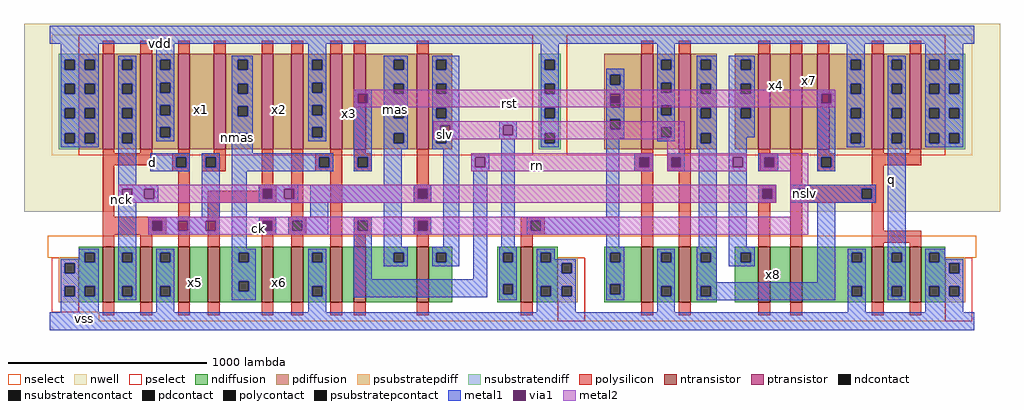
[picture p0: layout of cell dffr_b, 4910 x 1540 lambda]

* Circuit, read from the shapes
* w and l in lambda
.subckt dffr_b q d ck rn vdd vss
M1 nck ck vss vss nfet w=280 l=60 m=2
M2 x5 d vss vss nfet w=280 l=60
M3 nmas nck x5 vss nfet w=280 l=60
M4 x6 ck nmas vss nfet w=280 l=60
M5 vss mas x6 vss nfet w=280 l=60
M6 n1 nmas vss vss nfet w=280 l=60
M7 mas rn n1 vss nfet w=280 l=60
M8 slv ck mas vss nfet w=280 l=60
M9 vss rst slv vss nfet w=280 l=60
M10 vss rn rst vss nfet w=280 l=60
M11 nslv slv vss vss nfet w=280 l=60
M12 x8 nck slv vss nfet w=280 l=60
M13 vss nslv x8 vss nfet w=280 l=60
M14 q nslv vss vss nfet w=280 l=60 m=2
M15 nck ck vdd vdd pfet w=480 l=60 m=2
M16 x1 d vdd vdd pfet w=480 l=60
M17 nmas ck x1 vdd pfet w=480 l=60
M18 x2 nck nmas vdd pfet w=480 l=60
M19 vdd mas x2 vdd pfet w=480 l=60
M20 x3 nmas vdd vdd pfet w=480 l=60
M21 mas rst x3 vdd pfet w=480 l=60
M22 slv nck mas vdd pfet w=480 l=60
M23 vdd rn rst vdd pfet w=480 l=60
M24 nslv slv vdd vdd pfet w=480 l=60
M25 x4 ck slv vdd pfet w=480 l=60
M26 x7 nslv x4 vdd pfet w=480 l=60
M27 vdd rst x7 vdd pfet w=480 l=60
M28 q nslv vdd vdd pfet w=480 l=60 m=2
.ends

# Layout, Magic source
magic
tech amic5n
<< nwell >>
rect -130 550 4780 1495
<< ntransistor >>
rect 265 95 325 375
rect 455 95 515 375
rect 645 95 705 375
rect 795 95 855 375
rect 1065 95 1125 375
rect 1215 95 1275 375
rect 1410 95 1470 375
rect 1530 95 1590 375
rect 1845 95 1905 375
rect 2370 95 2430 375
rect 2975 95 3035 375
rect 3165 95 3225 375
rect 3565 95 3625 375
rect 3725 95 3785 375
rect 4135 95 4195 375
rect 4325 95 4385 375
<< ptransistor >>
rect 265 865 325 1345
rect 455 865 515 1345
rect 645 865 705 1345
rect 825 865 885 1345
rect 1065 865 1125 1345
rect 1215 865 1275 1345
rect 1410 865 1470 1345
rect 1530 865 1590 1345
rect 1845 865 1905 1345
rect 2975 865 3035 1345
rect 3165 865 3225 1345
rect 3565 865 3625 1345
rect 3725 865 3785 1345
rect 3860 865 3920 1345
rect 4135 865 4195 1345
rect 4325 865 4385 1345
<< nselect >>
rect 10 835 145 1440
rect 2430 835 2600 1440
rect 4505 835 4640 1440
rect -10 320 4660 430
rect 145 45 2555 320
rect 245 0 2555 45
rect 2690 0 4505 320
<< pselect >>
rect 145 835 2430 1440
rect 2600 835 4505 1440
rect 10 45 145 320
rect 2555 0 2690 320
rect 4505 0 4640 320
<< ndiffusion >>
rect 145 345 265 375
rect 145 295 175 345
rect 225 295 265 345
rect 145 175 265 295
rect 145 125 175 175
rect 225 125 265 175
rect 145 95 265 125
rect 325 345 455 375
rect 325 295 365 345
rect 415 295 455 345
rect 325 175 455 295
rect 325 125 365 175
rect 415 125 455 175
rect 325 95 455 125
rect 515 345 645 375
rect 515 295 555 345
rect 605 295 645 345
rect 515 175 645 295
rect 515 125 555 175
rect 605 125 645 175
rect 515 95 645 125
rect 705 95 795 375
rect 855 345 1065 375
rect 855 295 950 345
rect 1000 295 1065 345
rect 855 200 1065 295
rect 855 150 950 200
rect 1000 150 1065 200
rect 855 95 1065 150
rect 1125 95 1215 375
rect 1275 345 1410 375
rect 1275 295 1320 345
rect 1370 295 1410 345
rect 1275 175 1410 295
rect 1275 125 1320 175
rect 1370 125 1410 175
rect 1275 95 1410 125
rect 1470 95 1530 375
rect 1590 345 1845 375
rect 1590 295 1730 345
rect 1780 295 1845 345
rect 1590 95 1845 295
rect 1905 345 2025 375
rect 1905 295 1945 345
rect 1995 295 2025 345
rect 1905 95 2025 295
rect 2250 345 2370 375
rect 2250 295 2280 345
rect 2330 295 2370 345
rect 2250 185 2370 295
rect 2250 135 2280 185
rect 2330 135 2370 185
rect 2250 95 2370 135
rect 2430 345 2555 375
rect 2430 295 2470 345
rect 2520 295 2555 345
rect 2790 345 2975 375
rect 2430 175 2555 295
rect 2430 125 2470 175
rect 2520 125 2555 175
rect 2430 95 2555 125
rect 2790 295 2820 345
rect 2870 295 2975 345
rect 2790 185 2975 295
rect 2790 135 2820 185
rect 2870 135 2975 185
rect 2790 95 2975 135
rect 3035 345 3165 375
rect 3035 295 3075 345
rect 3125 295 3165 345
rect 3035 175 3165 295
rect 3035 125 3075 175
rect 3125 125 3165 175
rect 3035 95 3165 125
rect 3225 345 3355 375
rect 3225 295 3275 345
rect 3325 295 3355 345
rect 3225 175 3355 295
rect 3225 125 3275 175
rect 3325 125 3355 175
rect 3225 95 3355 125
rect 3445 345 3565 375
rect 3445 295 3475 345
rect 3525 295 3565 345
rect 3445 95 3565 295
rect 3625 95 3725 375
rect 3785 345 4135 375
rect 3785 295 4035 345
rect 4085 295 4135 345
rect 3785 175 4135 295
rect 3785 125 4035 175
rect 4085 125 4135 175
rect 3785 95 4135 125
rect 4195 345 4325 375
rect 4195 295 4235 345
rect 4285 295 4325 345
rect 4195 175 4325 295
rect 4195 125 4235 175
rect 4285 125 4325 175
rect 4195 95 4325 125
rect 4385 345 4505 375
rect 4385 295 4425 345
rect 4475 295 4505 345
rect 4385 175 4505 295
rect 4385 125 4425 175
rect 4475 125 4505 175
rect 4385 95 4505 125
<< pdiffusion >>
rect 145 1315 265 1345
rect 145 1265 175 1315
rect 225 1265 265 1315
rect 145 1195 265 1265
rect 145 1145 175 1195
rect 225 1145 265 1195
rect 145 1070 265 1145
rect 145 1020 175 1070
rect 225 1020 265 1070
rect 145 945 265 1020
rect 145 895 175 945
rect 225 895 265 945
rect 145 865 265 895
rect 325 1315 455 1345
rect 325 1265 365 1315
rect 415 1265 455 1315
rect 325 1195 455 1265
rect 325 1145 365 1195
rect 415 1145 455 1195
rect 325 1070 455 1145
rect 325 1020 365 1070
rect 415 1020 455 1070
rect 325 945 455 1020
rect 325 895 365 945
rect 415 895 455 945
rect 325 865 455 895
rect 515 1315 645 1345
rect 515 1265 555 1315
rect 605 1265 645 1315
rect 515 1200 645 1265
rect 515 1150 555 1200
rect 605 1150 645 1200
rect 515 1085 645 1150
rect 515 1035 555 1085
rect 605 1035 645 1085
rect 515 975 645 1035
rect 515 925 555 975
rect 605 925 645 975
rect 515 865 645 925
rect 705 865 825 1345
rect 885 1315 1065 1345
rect 885 1265 945 1315
rect 995 1265 1065 1315
rect 885 1195 1065 1265
rect 885 1145 945 1195
rect 995 1145 1065 1195
rect 885 1080 1065 1145
rect 885 1030 945 1080
rect 995 1030 1065 1080
rect 885 945 1065 1030
rect 885 895 945 945
rect 995 895 1065 945
rect 885 865 1065 895
rect 1125 865 1215 1345
rect 1275 1315 1410 1345
rect 1275 1265 1320 1315
rect 1370 1265 1410 1315
rect 1275 1200 1410 1265
rect 1275 1150 1320 1200
rect 1370 1150 1410 1200
rect 1275 1085 1410 1150
rect 1275 1035 1320 1085
rect 1370 1035 1410 1085
rect 1275 975 1410 1035
rect 1275 925 1320 975
rect 1370 925 1410 975
rect 1275 865 1410 925
rect 1470 865 1530 1345
rect 1590 1315 1845 1345
rect 1590 1265 1730 1315
rect 1780 1265 1845 1315
rect 1590 1195 1845 1265
rect 1590 1145 1730 1195
rect 1780 1145 1845 1195
rect 1590 1070 1845 1145
rect 1590 1020 1730 1070
rect 1780 1020 1845 1070
rect 1590 945 1845 1020
rect 1590 895 1730 945
rect 1780 895 1845 945
rect 1590 865 1845 895
rect 1905 1315 2025 1345
rect 1905 1265 1945 1315
rect 1995 1265 2025 1315
rect 1905 1195 2025 1265
rect 1905 1145 1945 1195
rect 1995 1145 2025 1195
rect 1905 1070 2025 1145
rect 1905 1020 1945 1070
rect 1995 1020 2025 1070
rect 1905 945 2025 1020
rect 1905 895 1945 945
rect 1995 895 2025 945
rect 1905 865 2025 895
rect 2790 1240 2975 1345
rect 2790 1190 2820 1240
rect 2870 1190 2975 1240
rect 2790 1125 2975 1190
rect 2790 1075 2820 1125
rect 2870 1075 2975 1125
rect 2790 1015 2975 1075
rect 2790 965 2820 1015
rect 2870 965 2975 1015
rect 2790 865 2975 965
rect 3035 1315 3165 1345
rect 3035 1265 3075 1315
rect 3125 1265 3165 1315
rect 3035 1200 3165 1265
rect 3035 1150 3075 1200
rect 3125 1150 3165 1200
rect 3035 1085 3165 1150
rect 3035 1035 3075 1085
rect 3125 1035 3165 1085
rect 3035 975 3165 1035
rect 3035 925 3075 975
rect 3125 925 3165 975
rect 3035 865 3165 925
rect 3225 1315 3355 1345
rect 3225 1265 3275 1315
rect 3325 1265 3355 1315
rect 3225 1195 3355 1265
rect 3225 1145 3275 1195
rect 3325 1145 3355 1195
rect 3225 1070 3355 1145
rect 3225 1020 3275 1070
rect 3325 1020 3355 1070
rect 3225 945 3355 1020
rect 3225 895 3275 945
rect 3325 895 3355 945
rect 3225 865 3355 895
rect 3445 1315 3565 1345
rect 3445 1265 3475 1315
rect 3525 1265 3565 1315
rect 3445 1195 3565 1265
rect 3445 1145 3475 1195
rect 3525 1145 3565 1195
rect 3445 1070 3565 1145
rect 3445 1020 3475 1070
rect 3525 1020 3565 1070
rect 3445 865 3565 1020
rect 3625 865 3725 1345
rect 3785 865 3860 1345
rect 3920 1315 4135 1345
rect 3920 1265 4030 1315
rect 4080 1265 4135 1315
rect 3920 1195 4135 1265
rect 3920 1145 4030 1195
rect 4080 1145 4135 1195
rect 3920 1070 4135 1145
rect 3920 1020 4030 1070
rect 4080 1020 4135 1070
rect 3920 945 4135 1020
rect 3920 895 4030 945
rect 4080 895 4135 945
rect 3920 865 4135 895
rect 4195 1315 4325 1345
rect 4195 1265 4235 1315
rect 4285 1265 4325 1315
rect 4195 1195 4325 1265
rect 4195 1145 4235 1195
rect 4285 1145 4325 1195
rect 4195 1070 4325 1145
rect 4195 1020 4235 1070
rect 4285 1020 4325 1070
rect 4195 945 4325 1020
rect 4195 895 4235 945
rect 4285 895 4325 945
rect 4195 865 4325 895
rect 4385 1315 4505 1345
rect 4385 1265 4425 1315
rect 4475 1265 4505 1315
rect 4385 1195 4505 1265
rect 4385 1145 4425 1195
rect 4475 1145 4505 1195
rect 4385 1070 4505 1145
rect 4385 1020 4425 1070
rect 4475 1020 4505 1070
rect 4385 945 4505 1020
rect 4385 895 4425 945
rect 4475 895 4505 945
rect 4385 865 4505 895
<< psubstratepdiff >>
rect 45 290 145 320
rect 45 240 75 290
rect 125 240 145 290
rect 45 175 145 240
rect 45 125 75 175
rect 125 125 145 175
rect 45 95 145 125
rect 2555 290 2655 320
rect 2555 240 2575 290
rect 2625 240 2655 290
rect 2555 175 2655 240
rect 2555 125 2575 175
rect 2625 125 2655 175
rect 2555 95 2655 125
rect 4505 290 4605 320
rect 4505 240 4525 290
rect 4575 240 4605 290
rect 4505 175 4605 240
rect 4505 125 4525 175
rect 4575 125 4605 175
rect 4505 95 4605 125
<< nsubstratendiff >>
rect 45 1315 145 1345
rect 45 1265 75 1315
rect 125 1265 145 1315
rect 45 1195 145 1265
rect 45 1145 75 1195
rect 125 1145 145 1195
rect 45 1070 145 1145
rect 45 1020 75 1070
rect 125 1020 145 1070
rect 45 945 145 1020
rect 45 895 75 945
rect 125 895 145 945
rect 45 865 145 895
rect 2460 1315 2570 1345
rect 2460 1265 2490 1315
rect 2540 1265 2570 1315
rect 2460 1195 2570 1265
rect 2460 1145 2490 1195
rect 2540 1145 2570 1195
rect 2460 1070 2570 1145
rect 2460 1020 2490 1070
rect 2540 1020 2570 1070
rect 2460 945 2570 1020
rect 2460 895 2490 945
rect 2540 895 2570 945
rect 2460 865 2570 895
rect 4505 1315 4605 1345
rect 4505 1265 4525 1315
rect 4575 1265 4605 1315
rect 4505 1195 4605 1265
rect 4505 1145 4525 1195
rect 4575 1145 4605 1195
rect 4505 1070 4605 1145
rect 4505 1020 4525 1070
rect 4575 1020 4605 1070
rect 4505 945 4605 1020
rect 4505 895 4525 945
rect 4575 895 4605 945
rect 4505 865 4605 895
<< nsubstratencontact >>
rect 75 1265 125 1315
rect 75 1145 125 1195
rect 75 1020 125 1070
rect 75 895 125 945
rect 2490 1265 2540 1315
rect 2490 1145 2540 1195
rect 2490 1020 2540 1070
rect 2490 895 2540 945
rect 4525 1265 4575 1315
rect 4525 1145 4575 1195
rect 4525 1020 4575 1070
rect 4525 895 4575 945
<< psubstratepcontact >>
rect 75 240 125 290
rect 75 125 125 175
rect 2575 240 2625 290
rect 2575 125 2625 175
rect 4525 240 4575 290
rect 4525 125 4575 175
<< ndcontact >>
rect 175 295 225 345
rect 175 125 225 175
rect 365 295 415 345
rect 365 125 415 175
rect 555 295 605 345
rect 555 125 605 175
rect 950 295 1000 345
rect 950 150 1000 200
rect 1320 295 1370 345
rect 1320 125 1370 175
rect 1730 295 1780 345
rect 1945 295 1995 345
rect 2280 295 2330 345
rect 2280 135 2330 185
rect 2470 295 2520 345
rect 2470 125 2520 175
rect 2820 295 2870 345
rect 2820 135 2870 185
rect 3075 295 3125 345
rect 3075 125 3125 175
rect 3275 295 3325 345
rect 3275 125 3325 175
rect 3475 295 3525 345
rect 4035 295 4085 345
rect 4035 125 4085 175
rect 4235 295 4285 345
rect 4235 125 4285 175
rect 4425 295 4475 345
rect 4425 125 4475 175
<< pdcontact >>
rect 175 1265 225 1315
rect 175 1145 225 1195
rect 175 1020 225 1070
rect 175 895 225 945
rect 365 1265 415 1315
rect 365 1145 415 1195
rect 365 1020 415 1070
rect 365 895 415 945
rect 555 1265 605 1315
rect 555 1150 605 1200
rect 555 1035 605 1085
rect 555 925 605 975
rect 945 1265 995 1315
rect 945 1145 995 1195
rect 945 1030 995 1080
rect 945 895 995 945
rect 1320 1265 1370 1315
rect 1320 1150 1370 1200
rect 1320 1035 1370 1085
rect 1320 925 1370 975
rect 1730 1265 1780 1315
rect 1730 1145 1780 1195
rect 1730 1020 1780 1070
rect 1730 895 1780 945
rect 1945 1265 1995 1315
rect 1945 1145 1995 1195
rect 1945 1020 1995 1070
rect 1945 895 1995 945
rect 2820 1190 2870 1240
rect 2820 1075 2870 1125
rect 2820 965 2870 1015
rect 3075 1265 3125 1315
rect 3075 1150 3125 1200
rect 3075 1035 3125 1085
rect 3075 925 3125 975
rect 3275 1265 3325 1315
rect 3275 1145 3325 1195
rect 3275 1020 3325 1070
rect 3275 895 3325 945
rect 3475 1265 3525 1315
rect 3475 1145 3525 1195
rect 3475 1020 3525 1070
rect 4030 1265 4080 1315
rect 4030 1145 4080 1195
rect 4030 1020 4080 1070
rect 4030 895 4080 945
rect 4235 1265 4285 1315
rect 4235 1145 4285 1195
rect 4235 1020 4285 1070
rect 4235 895 4285 945
rect 4425 1265 4475 1315
rect 4425 1145 4475 1195
rect 4425 1020 4475 1070
rect 4425 895 4475 945
<< polysilicon >>
rect 265 1345 325 1410
rect 455 1345 515 1410
rect 645 1345 705 1410
rect 825 1345 885 1410
rect 1065 1345 1125 1410
rect 1215 1345 1275 1410
rect 1410 1345 1470 1410
rect 1530 1345 1590 1410
rect 1845 1345 1905 1410
rect 2975 1345 3035 1410
rect 3165 1345 3225 1410
rect 3565 1345 3625 1410
rect 3725 1345 3785 1410
rect 3860 1345 3920 1410
rect 4135 1345 4195 1410
rect 4325 1345 4385 1410
rect 265 845 325 865
rect 455 845 515 865
rect 645 845 705 865
rect 825 845 885 865
rect 265 785 515 845
rect 615 825 705 845
rect 265 525 325 785
rect 615 775 635 825
rect 685 775 705 825
rect 615 755 705 775
rect 765 825 885 845
rect 765 775 785 825
rect 835 775 885 825
rect 765 755 885 775
rect 265 505 585 525
rect 265 455 515 505
rect 565 455 585 505
rect 265 435 585 455
rect 265 375 325 435
rect 455 375 515 435
rect 645 375 705 755
rect 1065 685 1125 865
rect 1050 665 1140 685
rect 1050 655 1070 665
rect 795 615 1070 655
rect 1120 615 1140 665
rect 795 595 1140 615
rect 795 375 855 595
rect 1215 525 1275 865
rect 1410 845 1470 865
rect 1335 825 1470 845
rect 1335 775 1355 825
rect 1405 775 1470 825
rect 1335 755 1470 775
rect 1530 845 1590 865
rect 1530 825 1620 845
rect 1530 775 1550 825
rect 1600 775 1620 825
rect 1530 755 1620 775
rect 1050 505 1140 525
rect 1050 455 1070 505
rect 1120 455 1140 505
rect 1050 435 1140 455
rect 1200 505 1290 525
rect 1200 455 1220 505
rect 1270 455 1290 505
rect 1200 435 1290 455
rect 1065 375 1125 435
rect 1215 375 1275 435
rect 1410 375 1470 755
rect 1845 685 1905 865
rect 2975 845 3035 865
rect 3165 845 3225 865
rect 2940 825 3035 845
rect 2940 775 2965 825
rect 3015 775 3035 825
rect 2940 755 3035 775
rect 3105 825 3225 845
rect 3105 775 3125 825
rect 3175 775 3225 825
rect 3105 755 3225 775
rect 3565 845 3625 865
rect 3565 825 3665 845
rect 3565 775 3595 825
rect 3645 775 3665 825
rect 3565 755 3665 775
rect 1830 665 1920 685
rect 1830 615 1850 665
rect 1900 615 1920 665
rect 1830 595 1920 615
rect 1530 505 1620 525
rect 1530 455 1550 505
rect 1600 455 1620 505
rect 1530 435 1620 455
rect 1830 505 1920 525
rect 1830 455 1850 505
rect 1900 455 1920 505
rect 1830 435 1920 455
rect 2370 505 2490 525
rect 2370 455 2420 505
rect 2470 455 2490 505
rect 2370 435 2490 455
rect 1530 375 1590 435
rect 1845 375 1905 435
rect 2370 375 2430 435
rect 2975 375 3035 755
rect 3165 375 3225 755
rect 3725 685 3785 865
rect 3860 845 3920 865
rect 4135 845 4195 865
rect 4325 845 4385 865
rect 3860 825 3950 845
rect 3860 775 3880 825
rect 3930 775 3950 825
rect 3860 755 3950 775
rect 4135 785 4385 845
rect 4135 685 4195 785
rect 3565 665 3655 685
rect 3565 615 3585 665
rect 3635 615 3655 665
rect 3565 595 3655 615
rect 3725 665 4195 685
rect 3725 615 3760 665
rect 3810 615 4085 665
rect 4135 615 4195 665
rect 3725 595 4195 615
rect 3565 375 3625 595
rect 3725 375 3785 595
rect 4135 455 4195 595
rect 4135 395 4385 455
rect 4135 375 4195 395
rect 4325 375 4385 395
rect 265 30 325 95
rect 455 30 515 95
rect 645 30 705 95
rect 795 30 855 95
rect 1065 30 1125 95
rect 1215 30 1275 95
rect 1410 30 1470 95
rect 1530 30 1590 95
rect 1845 30 1905 95
rect 2370 30 2430 95
rect 2975 30 3035 95
rect 3165 30 3225 95
rect 3565 30 3625 95
rect 3725 30 3785 95
rect 4135 30 4195 95
rect 4325 30 4385 95
<< polycontact >>
rect 635 775 685 825
rect 785 775 835 825
rect 515 455 565 505
rect 1070 615 1120 665
rect 1355 775 1405 825
rect 1550 775 1600 825
rect 1070 455 1120 505
rect 1220 455 1270 505
rect 2965 775 3015 825
rect 3125 775 3175 825
rect 3595 775 3645 825
rect 1850 615 1900 665
rect 1550 455 1600 505
rect 1850 455 1900 505
rect 2420 455 2470 505
rect 3880 775 3930 825
rect 3585 615 3635 665
rect 3760 615 3810 665
rect 4085 615 4135 665
<< metal1 >>
rect 0 1395 4650 1485
rect 55 1315 245 1395
rect 55 1265 75 1315
rect 125 1265 175 1315
rect 225 1265 245 1315
rect 55 1195 245 1265
rect 55 1145 75 1195
rect 125 1145 175 1195
rect 225 1145 245 1195
rect 55 1070 245 1145
rect 55 1020 75 1070
rect 125 1020 175 1070
rect 225 1020 245 1070
rect 55 945 245 1020
rect 55 895 75 945
rect 125 895 175 945
rect 225 895 245 945
rect 55 875 245 895
rect 345 1315 435 1335
rect 345 1265 365 1315
rect 415 1265 435 1315
rect 345 1195 435 1265
rect 345 1145 365 1195
rect 415 1145 435 1195
rect 345 1070 435 1145
rect 345 1020 365 1070
rect 415 1020 435 1070
rect 345 945 435 1020
rect 345 895 365 945
rect 415 895 435 945
rect 535 1315 625 1395
rect 535 1265 555 1315
rect 605 1265 625 1315
rect 535 1200 625 1265
rect 535 1150 555 1200
rect 605 1150 625 1200
rect 535 1085 625 1150
rect 535 1035 555 1085
rect 605 1035 625 1085
rect 535 975 625 1035
rect 535 925 555 975
rect 605 925 625 975
rect 535 905 625 925
rect 915 1315 1020 1335
rect 915 1265 945 1315
rect 995 1265 1020 1315
rect 915 1195 1020 1265
rect 915 1145 945 1195
rect 995 1145 1020 1195
rect 915 1080 1020 1145
rect 915 1030 945 1080
rect 995 1030 1020 1080
rect 915 945 1020 1030
rect 345 685 435 895
rect 915 895 945 945
rect 995 895 1020 945
rect 1300 1315 1390 1395
rect 1300 1265 1320 1315
rect 1370 1265 1390 1315
rect 1300 1200 1390 1265
rect 1300 1150 1320 1200
rect 1370 1150 1390 1200
rect 1680 1315 1800 1335
rect 1680 1265 1730 1315
rect 1780 1265 1800 1315
rect 1680 1195 1800 1265
rect 1300 1085 1390 1150
rect 1300 1035 1320 1085
rect 1370 1035 1390 1085
rect 1300 975 1390 1035
rect 1300 925 1320 975
rect 1370 925 1390 975
rect 1300 905 1390 925
rect 1530 1145 1620 1165
rect 1530 1095 1550 1145
rect 1600 1095 1620 1145
rect 915 845 1020 895
rect 505 825 705 845
rect 505 775 635 825
rect 685 775 705 825
rect 505 755 705 775
rect 765 825 855 845
rect 765 775 785 825
rect 835 775 855 825
rect 345 665 545 685
rect 345 615 365 665
rect 415 615 475 665
rect 525 615 545 665
rect 345 595 545 615
rect 145 345 245 365
rect 145 310 175 345
rect 55 295 175 310
rect 225 295 245 345
rect 55 290 245 295
rect 55 240 75 290
rect 125 240 245 290
rect 55 175 245 240
rect 55 125 75 175
rect 125 125 175 175
rect 225 125 245 175
rect 55 45 245 125
rect 345 345 435 595
rect 765 525 855 775
rect 495 505 855 525
rect 495 455 515 505
rect 565 455 645 505
rect 695 455 785 505
rect 835 455 855 505
rect 495 435 855 455
rect 915 825 1425 845
rect 915 775 1355 825
rect 1405 775 1425 825
rect 915 755 1425 775
rect 1530 825 1620 1095
rect 1530 775 1550 825
rect 1600 775 1620 825
rect 1530 755 1620 775
rect 1680 1145 1730 1195
rect 1780 1145 1800 1195
rect 1680 1070 1800 1145
rect 1680 1020 1730 1070
rect 1780 1020 1800 1070
rect 1680 945 1800 1020
rect 1680 895 1730 945
rect 1780 895 1800 945
rect 1680 865 1800 895
rect 1925 1315 2060 1335
rect 1925 1265 1945 1315
rect 1995 1265 2060 1315
rect 1925 1195 2060 1265
rect 1925 1145 1945 1195
rect 1995 1145 2060 1195
rect 1925 1070 2060 1145
rect 1925 1020 1945 1070
rect 1995 1020 2060 1070
rect 1925 985 2060 1020
rect 2470 1315 2560 1395
rect 2470 1265 2490 1315
rect 2540 1265 2560 1315
rect 3055 1315 3145 1395
rect 2470 1195 2560 1265
rect 2470 1145 2490 1195
rect 2540 1145 2560 1195
rect 2470 1070 2560 1145
rect 2470 1020 2490 1070
rect 2540 1020 2560 1070
rect 1925 945 1965 985
rect 1925 895 1945 945
rect 2015 935 2060 985
rect 1995 895 2060 935
rect 2260 985 2350 1005
rect 2260 935 2280 985
rect 2330 935 2350 985
rect 2260 915 2350 935
rect 2470 945 2560 1020
rect 1925 865 2060 895
rect 915 365 990 755
rect 1680 685 1770 865
rect 1050 665 1250 685
rect 1050 615 1070 665
rect 1120 615 1180 665
rect 1230 615 1250 665
rect 1050 595 1250 615
rect 1310 595 1770 685
rect 1830 665 1920 685
rect 1830 615 1850 665
rect 1900 615 1920 665
rect 1830 595 1920 615
rect 1310 525 1400 595
rect 1050 505 1140 525
rect 1050 455 1070 505
rect 1120 455 1140 505
rect 1050 435 1140 455
rect 1200 505 1400 525
rect 1200 455 1220 505
rect 1270 455 1400 505
rect 1200 435 1400 455
rect 1530 505 1620 525
rect 1530 455 1550 505
rect 1600 455 1620 505
rect 345 295 365 345
rect 415 295 435 345
rect 345 175 435 295
rect 345 125 365 175
rect 415 125 435 175
rect 345 105 435 125
rect 535 345 625 365
rect 535 295 555 345
rect 605 295 625 345
rect 535 175 625 295
rect 535 125 555 175
rect 605 125 625 175
rect 535 45 625 125
rect 915 345 1035 365
rect 915 295 950 345
rect 1000 295 1035 345
rect 915 200 1035 295
rect 915 150 950 200
rect 1000 150 1035 200
rect 915 105 1035 150
rect 1300 345 1390 365
rect 1300 295 1320 345
rect 1370 295 1390 345
rect 1300 175 1390 295
rect 1300 125 1320 175
rect 1370 125 1390 175
rect 1300 45 1390 125
rect 1530 210 1620 455
rect 1680 375 1770 595
rect 1830 505 1920 525
rect 1830 455 1850 505
rect 1900 455 1920 505
rect 1830 435 1920 455
rect 1980 375 2060 865
rect 2120 825 2210 845
rect 2120 775 2140 825
rect 2190 775 2210 825
rect 2120 755 2210 775
rect 1680 345 1800 375
rect 1680 295 1730 345
rect 1780 295 1800 345
rect 1680 275 1800 295
rect 1925 345 2060 375
rect 1925 295 1945 345
rect 1995 295 2060 345
rect 1925 275 2060 295
rect 2130 210 2200 755
rect 2270 375 2340 915
rect 2470 895 2490 945
rect 2540 895 2560 945
rect 2470 875 2560 895
rect 2800 1240 2890 1270
rect 2800 1190 2820 1240
rect 2870 1190 2890 1240
rect 2800 1145 2890 1190
rect 2800 1075 2820 1145
rect 2870 1075 2890 1145
rect 2800 1015 2890 1075
rect 2800 965 2820 1015
rect 2870 965 2890 1015
rect 2800 920 2890 965
rect 3055 1265 3075 1315
rect 3125 1265 3145 1315
rect 3055 1200 3145 1265
rect 3055 1150 3075 1200
rect 3125 1150 3145 1200
rect 3055 1085 3145 1150
rect 3055 1035 3075 1085
rect 3125 1035 3145 1085
rect 3055 975 3145 1035
rect 3055 925 3075 975
rect 3125 925 3145 975
rect 2800 525 2865 920
rect 3055 905 3145 925
rect 3255 1315 3355 1335
rect 3255 1265 3275 1315
rect 3325 1265 3355 1315
rect 3255 1195 3355 1265
rect 3255 1145 3275 1195
rect 3325 1145 3355 1195
rect 3255 1070 3355 1145
rect 3255 1020 3275 1070
rect 3325 1020 3355 1070
rect 3255 945 3355 1020
rect 3255 895 3275 945
rect 3325 895 3355 945
rect 3255 865 3355 895
rect 2940 825 3035 845
rect 2940 775 2965 825
rect 3015 775 3035 825
rect 2940 755 3035 775
rect 3105 825 3195 845
rect 3105 775 3125 825
rect 3175 775 3195 825
rect 3105 755 3195 775
rect 2400 505 2865 525
rect 2400 455 2420 505
rect 2470 455 2865 505
rect 2400 435 2865 455
rect 2800 375 2865 435
rect 3265 375 3355 865
rect 1530 120 2200 210
rect 2260 345 2350 375
rect 2260 295 2280 345
rect 2330 295 2350 345
rect 2260 185 2350 295
rect 2260 135 2280 185
rect 2330 135 2350 185
rect 2260 105 2350 135
rect 2450 345 2540 365
rect 2450 295 2470 345
rect 2520 310 2540 345
rect 2800 345 2890 375
rect 2520 295 2645 310
rect 2450 290 2645 295
rect 2450 240 2575 290
rect 2625 240 2645 290
rect 2450 175 2645 240
rect 2450 125 2470 175
rect 2520 125 2575 175
rect 2625 125 2645 175
rect 2450 45 2645 125
rect 2800 295 2820 345
rect 2870 295 2890 345
rect 2800 185 2890 295
rect 2800 135 2820 185
rect 2870 135 2890 185
rect 2800 105 2890 135
rect 3055 345 3145 365
rect 3055 295 3075 345
rect 3125 295 3145 345
rect 3055 175 3145 295
rect 3055 125 3075 175
rect 3125 125 3145 175
rect 3055 45 3145 125
rect 3255 345 3355 375
rect 3255 295 3275 345
rect 3325 295 3355 345
rect 3255 195 3355 295
rect 3415 1315 3545 1335
rect 3415 1265 3475 1315
rect 3525 1265 3545 1315
rect 3415 1195 3545 1265
rect 3415 1145 3475 1195
rect 3525 1145 3545 1195
rect 4010 1315 4100 1395
rect 4010 1265 4030 1315
rect 4080 1265 4100 1315
rect 4010 1195 4100 1265
rect 3415 1070 3545 1145
rect 3415 1020 3475 1070
rect 3525 1020 3545 1070
rect 3415 925 3545 1020
rect 3860 1145 3950 1165
rect 3860 1095 3880 1145
rect 3930 1095 3950 1145
rect 3415 825 3505 925
rect 3415 775 3435 825
rect 3485 775 3505 825
rect 3415 375 3505 775
rect 3565 825 3665 845
rect 3565 775 3595 825
rect 3645 775 3665 825
rect 3565 755 3665 775
rect 3860 825 3950 1095
rect 4010 1145 4030 1195
rect 4080 1145 4100 1195
rect 4010 1070 4100 1145
rect 4010 1020 4030 1070
rect 4080 1020 4100 1070
rect 4010 945 4100 1020
rect 4010 895 4030 945
rect 4080 895 4100 945
rect 4010 875 4100 895
rect 4215 1315 4305 1335
rect 4215 1265 4235 1315
rect 4285 1265 4305 1315
rect 4215 1195 4305 1265
rect 4215 1145 4235 1195
rect 4285 1145 4305 1195
rect 4215 1070 4305 1145
rect 4215 1020 4235 1070
rect 4285 1020 4305 1070
rect 4215 945 4305 1020
rect 4215 895 4235 945
rect 4285 895 4305 945
rect 3860 775 3880 825
rect 3930 775 3950 825
rect 3860 755 3950 775
rect 3565 665 3655 685
rect 3565 615 3585 665
rect 3635 615 3655 665
rect 3565 595 3655 615
rect 3725 665 4155 685
rect 3725 615 3760 665
rect 3810 615 4085 665
rect 4135 615 4155 665
rect 3725 595 4155 615
rect 3415 345 3545 375
rect 3415 295 3475 345
rect 3525 295 3545 345
rect 3415 275 3545 295
rect 3860 195 3950 595
rect 3255 175 3950 195
rect 3255 125 3275 175
rect 3325 125 3950 175
rect 3255 105 3950 125
rect 4015 345 4105 365
rect 4015 295 4035 345
rect 4085 295 4105 345
rect 4015 175 4105 295
rect 4015 125 4035 175
rect 4085 125 4105 175
rect 4015 45 4105 125
rect 4215 345 4305 895
rect 4405 1315 4595 1395
rect 4405 1265 4425 1315
rect 4475 1265 4525 1315
rect 4575 1265 4595 1315
rect 4405 1195 4595 1265
rect 4405 1145 4425 1195
rect 4475 1145 4525 1195
rect 4575 1145 4595 1195
rect 4405 1070 4595 1145
rect 4405 1020 4425 1070
rect 4475 1020 4525 1070
rect 4575 1020 4595 1070
rect 4405 945 4595 1020
rect 4405 895 4425 945
rect 4475 895 4525 945
rect 4575 895 4595 945
rect 4405 875 4595 895
rect 4215 295 4235 345
rect 4285 295 4305 345
rect 4215 175 4305 295
rect 4215 125 4235 175
rect 4285 125 4305 175
rect 4215 105 4305 125
rect 4405 345 4505 365
rect 4405 295 4425 345
rect 4475 310 4505 345
rect 4475 295 4595 310
rect 4405 290 4595 295
rect 4405 240 4525 290
rect 4575 240 4595 290
rect 4405 175 4595 240
rect 4405 125 4425 175
rect 4475 125 4525 175
rect 4575 125 4595 175
rect 4405 45 4595 125
rect 0 -45 4650 45
<< via1 >>
rect 1550 1095 1600 1145
rect 365 615 415 665
rect 475 615 525 665
rect 515 455 565 505
rect 645 455 695 505
rect 785 455 835 505
rect 1965 945 2015 985
rect 1965 935 1995 945
rect 1995 935 2015 945
rect 2280 935 2330 985
rect 1070 615 1120 665
rect 1180 615 1230 665
rect 1850 615 1900 665
rect 1070 455 1120 505
rect 1850 455 1900 505
rect 2140 775 2190 825
rect 2820 1125 2870 1145
rect 2820 1095 2870 1125
rect 2965 775 3015 825
rect 3125 775 3175 825
rect 3880 1095 3930 1145
rect 3435 775 3485 825
rect 3595 775 3645 825
rect 3585 615 3635 665
<< metal2 >>
rect 1530 1145 3950 1165
rect 1530 1095 1550 1145
rect 1600 1095 2820 1145
rect 2870 1095 3880 1145
rect 3930 1095 3950 1145
rect 1530 1075 3950 1095
rect 1930 985 3195 1005
rect 1930 935 1965 985
rect 2015 935 2280 985
rect 2330 935 3195 985
rect 1930 915 3195 935
rect 3105 845 3195 915
rect 2120 825 3035 845
rect 2120 775 2140 825
rect 2190 775 2965 825
rect 3015 775 3035 825
rect 2120 755 3035 775
rect 3105 825 3505 845
rect 3105 775 3125 825
rect 3175 775 3435 825
rect 3485 775 3505 825
rect 3105 755 3505 775
rect 3575 825 3815 845
rect 3575 775 3595 825
rect 3645 775 3815 825
rect 3575 755 3815 775
rect 345 665 3655 685
rect 345 615 365 665
rect 415 615 475 665
rect 525 615 1070 665
rect 1120 615 1180 665
rect 1230 615 1850 665
rect 1900 615 3585 665
rect 3635 615 3655 665
rect 345 595 3655 615
rect 3725 525 3815 755
rect 495 505 3815 525
rect 495 455 515 505
rect 565 455 645 505
rect 695 455 785 505
rect 835 455 1070 505
rect 1120 455 1850 505
rect 1900 455 3815 505
rect 495 435 3815 455
<< labels >>
flabel ndiffusion s 1155 195 1155 195 2 FreeSans 400 0 0 0 x6
flabel ndiffusion 735 195 735 195 2 FreeSans 400 0 0 0 x5
flabel metal1 360 610 360 610 2 FreeSans 400 0 0 0 nck
flabel pdiffusion s 1155 1065 1155 1065 2 FreeSans 400 0 0 0 x2
flabel pdiffusion s 765 1065 765 1065 2 FreeSans 400 0 0 0 x1
flabel metal1 s 945 925 945 925 2 FreeSans 400 0 0 0 nmas
flabel metal1 s 1740 1065 1740 1065 2 FreeSans 400 0 0 0 mas
flabel metal1 s 1986 940 1986 940 8 FreeSans 400 180 0 0 slv
flabel metal1 s 4235 710 4235 710 2 FreeSans 400 0 0 0 q
port 0 e
flabel metal1 s 515 800 515 800 2 FreeSans 400 0 0 0 d
port 1 s
flabel metal1 s 1050 465 1050 465 2 FreeSans 400 0 0 0 ck
port 2 ne
flabel metal1 s 555 1395 555 1395 2 FreeSans 400 0 0 0 vdd
port 4 n
flabel metal1 s 175 15 175 15 2 FreeSans 400 0 0 0 vss
port 5 s
flabel pdiffusion s 3655 1185 3655 1185 2 FreeSans 400 0 0 0 x4
flabel metal1 s 3795 640 3795 640 2 FreeSans 400 0 0 0 nslv
flabel metal2 s 2455 785 2455 785 2 FreeSans 400 0 0 0 rn
port 3 ne
flabel metal2 s 2310 1095 2310 1095 2 FreeSans 160 0 0 0 rst
flabel pdiffusion s 3820 1210 3820 1210 2 FreeSans 400 0 0 0 x7
flabel pdiffusion s 1505 1045 1505 1045 2 FreeSans 400 0 0 0 x3
flabel ndiffusion s 3640 235 3640 235 2 FreeSans 400 0 0 0 x8
<< properties >>
string LEFclass CORE
string LEFsite core
string FIXED_BBOX 0 0 4650 1440
string LEFsymmetry X Y
<< end >>
